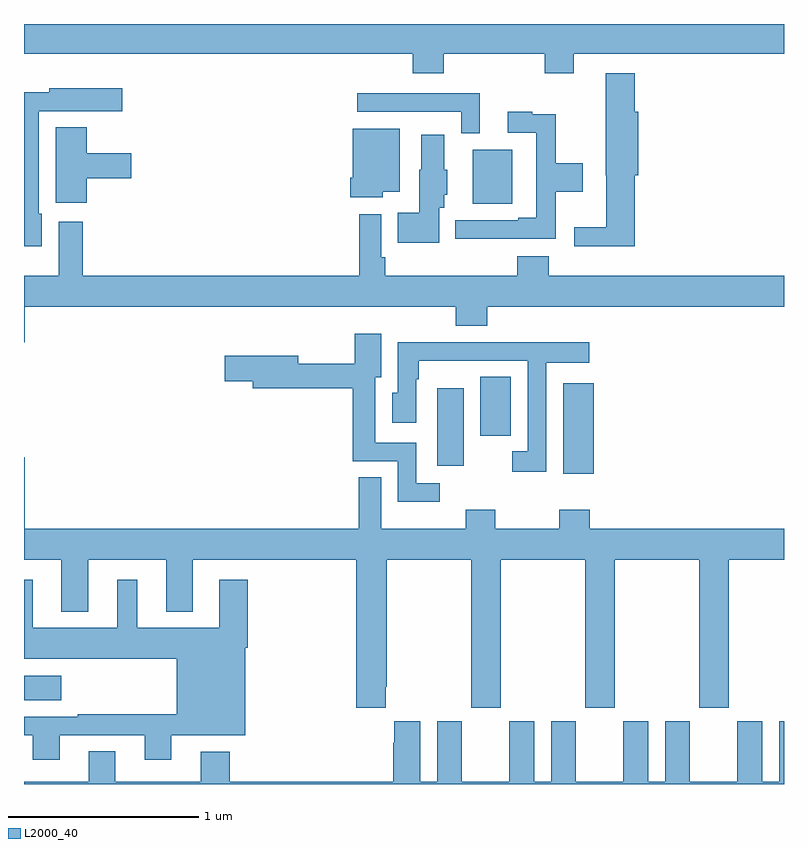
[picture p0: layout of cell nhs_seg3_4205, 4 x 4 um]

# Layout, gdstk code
import gdstk
lib = gdstk.Library(unit=1e-6, precision=1e-09)
def R(c, l, rs):  # rectangles x0, y0, x1, y1
    for r in rs: c.add(gdstk.rectangle(r[:2], r[2:], *l))
def P(c, l, *ps):  # polygons
    for p in ps: c.add(gdstk.Polygon(p, *l))
L2000_40 = (2000, 40)

nhs_seg3_4205 = lib.new_cell('nhs_seg3_4205')
R(nhs_seg3_4205, L2000_40, [(333,702.842,333.196,702.97), (335.837,704.034,335.998,704.509), (335.174,704.076,335.314,704.482), (335.402,704.232,335.563,704.543), (335.363,705.455,335.569,705.739)])
P(nhs_seg3_4205, L2000_40, [(333,706.244),(335.045,706.244),(335.045,706.142),(335.21,706.142),(335.21,706.244),(335.741,706.244),(335.741,706.142),(335.893,706.142),(335.893,706.244),(337,706.244),(337,706.4),(333,706.4)],
  [(336.215,705.603),(336.233,705.603),(336.233,705.939),(336.215,705.939),(336.215,706.141),(336.062,706.141),(336.062,705.603),(336.065,705.603),(336.065,705.329),(335.895,705.329),(335.895,705.23),(336.215,705.23)],
  [(333.094,705.402),(333.078,705.402),(333.078,705.942),(333.29,705.942),(333.29,705.941),(333.517,705.941),(333.517,706.063),(333.132,706.063),(333.132,706.04),(333,706.04),(333,705.23),(333.094,705.23)],
  [(335.398,706.035),(334.755,706.035),(334.755,705.939),(335.301,705.939),(335.301,705.824),(335.398,705.824)],
  [(335.513,705.27),(335.798,705.27),(335.798,705.518),(335.941,705.518),(335.941,705.666),(335.798,705.666),(335.798,705.926),(335.675,705.926),(335.675,705.937),(335.547,705.937),(335.547,705.828),(335.697,705.828),(335.697,705.379),(335.6,705.379),(335.6,705.366),(335.271,705.366),(335.271,705.269),(335.513,705.269)],
  [(333.329,705.587),(333.565,705.587),(333.565,705.721),(333.329,705.721),(333.329,705.856),(333.167,705.856),(333.167,705.459),(333.329,705.459)],
  [(334.888,705.518),(334.978,705.518),(334.978,705.85),(334.73,705.85),(334.73,705.592),(334.718,705.592),(334.718,705.488),(334.888,705.488)],
  [(335.185,705.432),(335.212,705.432),(335.212,705.501),(335.227,705.501),(335.227,705.633),(335.212,705.633),(335.212,705.817),(335.09,705.817),(335.09,705.633),(335.081,705.633),(335.081,705.406),(334.966,705.406),(334.966,705.248),(335.185,705.248)],
  [(333.004,704.912),(335.273,704.912),(335.273,704.813),(335.438,704.813),(335.438,704.912),(337,704.912),(337,705.076),(335.762,705.076),(335.762,705.178),(335.597,705.178),(335.597,705.076),(334.901,705.076),(334.901,705.172),(334.881,705.172),(334.881,705.4),(334.765,705.4),(334.765,705.076),(333.308,705.076),(333.308,705.358),(333.182,705.358),(333.182,705.076),(333,705.076),(333,704.724),(333.004,704.724)],
  [(335.188,703.983),(335.064,703.983),(335.064,704.196),(334.849,704.196),(334.849,704.541),(334.879,704.541),(334.879,704.77),(334.741,704.77),(334.741,704.611),(334.444,704.611),(334.444,704.653),(334.056,704.653),(334.056,704.519),(334.205,704.519),(334.205,704.482),(334.731,704.482),(334.731,704.1),(334.968,704.1),(334.968,703.886),(335.188,703.886)],
  [(335.748,704.618),(335.974,704.618),(335.974,704.726),(335.555,704.726),(335.555,704.724),(335.189,704.724),(335.189,704.726),(334.968,704.726),(334.968,704.46),(334.937,704.46),(334.937,704.301),(335.064,704.301),(335.064,704.531),(335.077,704.531),(335.077,704.627),(335.306,704.627),(335.306,704.628),(335.652,704.628),(335.652,704.151),(335.571,704.151),(335.571,704.043),(335.748,704.043)],
  [(334.903,702.913),(334.908,702.913),(334.908,703.58),(335.353,703.58),(335.353,702.801),(335.508,702.801),(335.508,703.58),(335.953,703.58),(335.953,702.801),(336.108,702.801),(336.108,703.58),(336.553,703.58),(336.553,702.801),(336.708,702.801),(336.708,703.58),(337,703.58),(337,703.744),(335.978,703.744),(335.978,703.843),(335.818,703.843),(335.818,703.744),(335.481,703.744),(335.481,703.843),(335.326,703.843),(335.326,703.744),(334.879,703.744),(334.879,704.015),(334.761,704.015),(334.761,703.744),(333.004,703.744),(333.004,704.119),(333,704.119),(333,703.58),(333.197,703.58),(333.197,703.307),(333.337,703.307),(333.337,703.58),(333.749,703.58),(333.749,703.307),(333.889,703.307),(333.889,703.58),(334.748,703.58),(334.748,702.801),(334.903,702.801)],
  [(333.187,702.657),(333.635,702.657),(333.635,702.528),(333.775,702.528),(333.775,702.656),(334.165,702.656),(334.165,703.118),(334.178,703.118),(334.178,703.474),(334.028,703.474),(334.028,703.222),(333.595,703.222),(333.595,703.474),(333.491,703.474),(333.491,703.222),(333.046,703.222),(333.046,703.474),(333,703.474),(333,703.058),(333.803,703.058),(333.803,702.766),(333.283,702.766),(333.283,702.753),(333,702.753),(333,702.657),(333.047,702.657),(333.047,702.528),(333.187,702.528)],
  [(337,702.73),(336.974,702.73),(336.974,702.412),(336.886,702.412),(336.886,702.73),(336.755,702.73),(336.755,702.412),(336.505,702.412),(336.505,702.73),(336.374,702.73),(336.374,702.412),(336.286,702.412),(336.286,702.73),(336.155,702.73),(336.155,702.412),(335.905,702.412),(335.905,702.73),(335.774,702.73),(335.774,702.412),(335.686,702.412),(335.686,702.73),(335.555,702.73),(335.555,702.412),(335.305,702.412),(335.305,702.73),(335.174,702.73),(335.174,702.412),(335.086,702.412),(335.086,702.73),(334.949,702.73),(334.949,702.617),(334.943,702.617),(334.943,702.412),(334.082,702.412),(334.082,702.571),(333.929,702.571),(333.929,702.412),(333.481,702.412),(333.481,702.572),(333.341,702.572),(333.341,702.412),(333,702.412),(333,702.4),(337,702.4)])

lib.write_gds('nhs_seg3_4205.gds')
